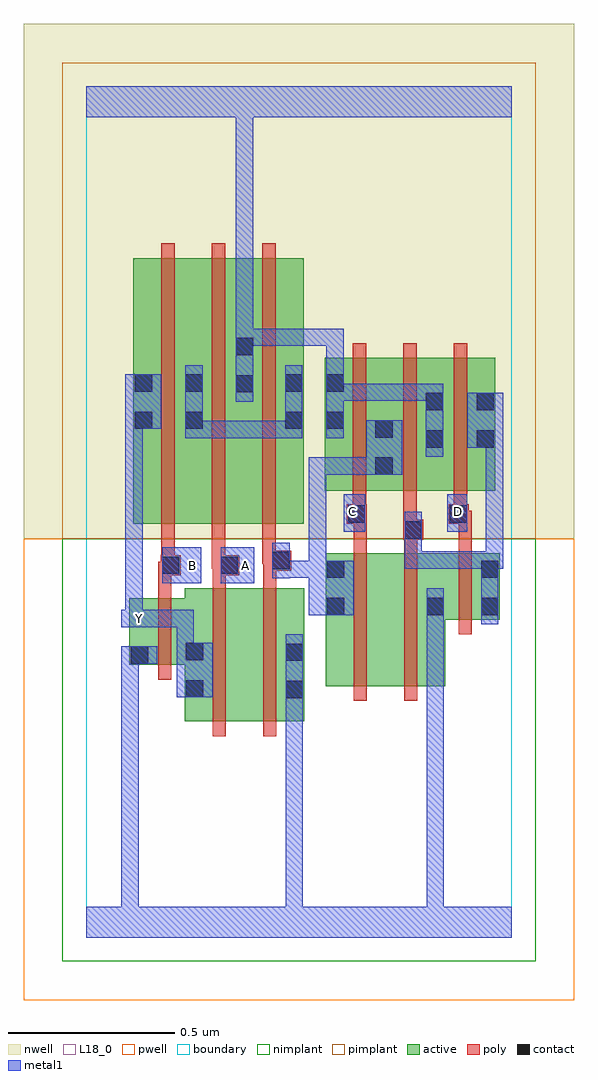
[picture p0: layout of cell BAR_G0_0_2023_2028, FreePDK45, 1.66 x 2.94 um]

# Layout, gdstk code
import gdstk
lib = gdstk.Library(unit=1e-6, precision=1e-09)
def R(c, l, rs):  # rectangles x0, y0, x1, y1
    for r in rs: c.add(gdstk.rectangle(r[:2], r[2:], *l))
def A(c, l, x, y, w, h, nx, ny, dx, dy):  # array of equal rectangles
    R(c, l, [(x+i*dx, y+j*dy, x+i*dx+w, y+j*dy+h) for i in range(nx) for j in range(ny)])
active = (1, 0)
pwell = (2, 0)
nwell = (3, 0)
nimplant = (4, 0)
pimplant = (5, 0)
poly = (9, 0)
contact = (10, 0)
metal1 = (11, 0)
L18_0 = (18, 0)
boundary = (235, 0)

bar_g0_0_2023_2028 = lib.new_cell('BAR_G0_0_2023_2028')
R(bar_g0_0_2023_2028, active, [(0.296,0.65,0.476,1.05), (0.296,0.65,0.356,0.89), (0.476,0.65,0.656,1.05), (0.596,0.716,0.656,1.05), (0.72,0.756,0.78,1.156), (0.72,0.756,0.9,1.156), (0.9,0.756,1.08,1.156), (1.02,0.756,1.08,1.156), (0.13,0.82,0.19,1.02), (0.13,0.82,0.356,1.02), (1.02,0.956,1.244,1.156), (1.184,0.956,1.244,1.156), (0.142,1.244,0.202,2.044), (0.142,1.244,0.354,2.044), (0.294,1.244,0.506,2.044), (0.446,1.244,0.654,2.044), (0.594,1.244,0.654,2.044), (0.718,1.344,0.926,1.744), (0.718,1.344,0.778,1.698), (0.866,1.344,1.078,1.744), (1.018,1.344,1.23,1.744), (1.17,1.344,1.23,1.644), (0.866,1.388,0.926,1.644), (1.018,1.47,1.078,1.644), (0.294,1.526,0.354,2.044), (0.446,1.636,0.506,2.044)])
R(bar_g0_0_2023_2028, pwell, [(-0.188,-0.188,1.468,1.2)])
R(bar_g0_0_2023_2028, nwell, [(-0.188,1.2,1.468,2.748)])
R(bar_g0_0_2023_2028, nimplant, [(-0.072,-0.072,1.352,1.2)])
R(bar_g0_0_2023_2028, pimplant, [(-0.072,1.2,1.352,2.632)])
A(bar_g0_0_2023_2028, poly, 0.226, 1.2, 0.04, 0.888, 3, 1, 0.152, 0)
A(bar_g0_0_2023_2028, poly, 0.802, 1.3, 0.04, 0.488, 3, 1, 0.152, 0)
R(bar_g0_0_2023_2028, poly, [(0.38,0.606,0.42,1.094), (0.532,0.606,0.572,1.094), (0.804,0.712,0.844,1.2), (0.956,0.712,0.996,1.2), (0.216,0.776,0.256,1.064), (1.12,0.912,1.16,1.2), (0.216,1.024,0.256,1.13), (0.38,1.054,0.42,1.13), (0.532,1.054,0.572,1.144), (0.216,1.09,0.264,1.13), (0.224,1.09,0.264,1.13), (0.224,1.09,0.284,1.15), (0.38,1.09,0.46,1.15), (0.532,1.104,0.616,1.164), (0.226,1.11,0.266,1.24), (0.378,1.11,0.42,1.15), (0.378,1.11,0.418,1.24), (0.38,1.11,0.42,1.15), (0.53,1.124,0.57,1.24), (0.53,1.124,0.572,1.164), (0.532,1.124,0.572,1.164), (0.804,1.16,0.844,1.284), (0.956,1.16,0.996,1.236), (1.12,1.16,1.16,1.284), (0.954,1.196,1.014,1.256), (0.954,1.216,0.994,1.256), (0.954,1.216,0.994,1.256), (0.954,1.216,0.994,1.34), (0.784,1.244,0.844,1.304), (1.09,1.244,1.15,1.304), (1.11,1.244,1.15,1.284), (1.11,1.244,1.16,1.284), (0.802,1.264,0.842,1.34), (0.802,1.264,0.842,1.304), (0.802,1.264,0.842,1.304), (1.106,1.264,1.146,1.34)])
R(bar_g0_0_2023_2028, contact, [(0.6,0.72,0.652,0.772), (0.3,0.722,0.352,0.774), (0.134,0.824,0.186,0.876), (0.6,0.832,0.652,0.884), (0.3,0.834,0.352,0.886), (0.724,0.97,0.776,1.022), (1.024,0.97,1.076,1.022), (1.188,0.97,1.24,1.022), (0.724,1.082,0.776,1.134), (1.188,1.082,1.24,1.134), (0.228,1.094,0.28,1.146), (0.404,1.094,0.456,1.146), (0.56,1.108,0.612,1.16), (0.958,1.2,1.01,1.252), (0.788,1.248,0.84,1.3), (1.094,1.248,1.146,1.3), (0.87,1.392,0.922,1.444), (1.022,1.474,1.074,1.526), (1.174,1.474,1.226,1.526), (0.87,1.504,0.922,1.556), (0.146,1.53,0.198,1.582), (0.298,1.53,0.35,1.582), (0.598,1.53,0.65,1.582), (0.722,1.53,0.774,1.582), (1.022,1.586,1.074,1.638), (1.174,1.586,1.226,1.638), (0.45,1.64,0.502,1.692), (0.146,1.642,0.198,1.694), (0.298,1.642,0.35,1.694), (0.598,1.642,0.65,1.694), (0.722,1.642,0.774,1.694), (0.45,1.752,0.502,1.804)])
R(bar_g0_0_2023_2028, metal1, [(0,0,1.28,0.092), (0.106,0.04,0.158,0.092), (0.106,0.04,0.158,0.092), (0.106,0.04,0.158,0.092), (0.106,0.04,0.158,0.092), (0.106,0.04,0.158,0.092), (0.106,0.04,0.158,0.092), (0.106,0.04,0.158,0.876), (0.6,0.04,0.652,0.1), (1.024,0.04,1.076,0.092), (1.024,0.04,1.076,0.092), (1.024,0.04,1.076,0.1), (0.6,0.048,0.652,0.1), (0.6,0.048,0.652,0.1), (0.6,0.048,0.652,0.1), (0.6,0.048,0.652,0.1), (0.6,0.048,0.652,0.1), (0.6,0.048,0.652,0.1), (0.6,0.048,0.652,0.1), (0.6,0.048,0.652,0.1), (0.6,0.048,0.652,0.1), (0.6,0.048,0.652,0.744), (1.024,0.048,1.076,0.1), (1.024,0.048,1.076,0.1), (1.024,0.048,1.076,0.1), (1.024,0.048,1.076,0.1), (1.024,0.048,1.076,0.1), (1.024,0.048,1.076,0.994), (0.6,0.692,0.652,0.744), (0.6,0.692,0.652,0.744), (0.6,0.692,0.652,0.912), (0.272,0.722,0.38,0.886), (0.106,0.824,0.158,0.876), (0.106,0.824,0.158,0.876), (0.106,0.824,0.158,0.876), (0.106,0.824,0.158,0.876), (0.106,0.824,0.158,0.876), (0.106,0.824,0.158,0.876), (0.106,0.824,0.158,0.876), (0.106,0.824,0.158,0.876), (0.106,0.824,0.158,0.876), (0.106,0.824,0.158,0.876), (0.106,0.824,0.214,0.876), (0.272,0.834,0.324,0.986), (0.106,0.934,0.214,0.986), (0.118,0.934,0.17,1.582), (0.162,0.934,0.214,0.986), (0.162,0.934,0.214,0.986), (0.162,0.934,0.324,0.986), (0.272,0.934,0.324,0.986), (1.024,0.942,1.076,0.994), (1.024,0.942,1.076,0.994), (1.024,0.942,1.076,0.994), (1.024,0.942,1.076,0.994), (1.024,0.942,1.076,1.05), (1.188,0.942,1.24,1.162), (0.67,0.97,0.804,1.134), (0.228,1.066,0.346,1.174), (0.404,1.066,0.506,1.174), (0.56,1.08,0.612,1.188), (0.56,1.082,0.646,1.134), (0.594,1.082,0.646,1.134), (0.594,1.082,0.722,1.134), (0.67,1.082,0.722,1.134), (0.67,1.082,0.722,1.134), (0.67,1.082,0.722,1.444), (0.958,1.11,1.24,1.162), (0.958,1.11,1.01,1.224), (1.188,1.11,1.24,1.162), (1.188,1.11,1.24,1.162), (1.188,1.11,1.24,1.162), (1.188,1.11,1.254,1.162), (1.202,1.11,1.254,1.526), (0.958,1.172,1.01,1.224), (0.958,1.172,1.01,1.28), (0.774,1.22,0.84,1.334), (1.086,1.22,1.146,1.334), (0.67,1.392,0.76,1.444), (0.708,1.392,0.76,1.444), (0.708,1.392,0.76,1.444), (0.708,1.392,0.76,1.444), (0.708,1.392,0.76,1.444), (0.708,1.392,0.894,1.444), (0.842,1.392,0.95,1.556), (1.022,1.446,1.074,1.666), (1.146,1.474,1.254,1.638), (1.202,1.474,1.254,1.526), (1.202,1.474,1.254,1.526), (0.298,1.502,0.35,1.554), (0.298,1.502,0.35,1.554), (0.298,1.502,0.35,1.722), (0.298,1.502,0.46,1.554), (0.408,1.502,0.46,1.554), (0.408,1.502,0.46,1.554), (0.408,1.502,0.46,1.554), (0.408,1.502,0.65,1.554), (0.598,1.502,0.65,1.722), (0.722,1.502,0.774,1.722), (0.118,1.53,0.17,1.582), (0.118,1.53,0.17,1.582), (0.118,1.53,0.226,1.694), (0.45,1.612,0.502,1.832), (0.722,1.614,0.774,1.666), (0.722,1.614,0.774,1.666), (0.722,1.614,0.884,1.666), (0.832,1.614,0.884,1.666), (0.832,1.614,0.884,1.666), (0.832,1.614,0.884,1.666), (0.832,1.614,1.074,1.666), (0.722,1.67,0.774,1.832), (0.45,1.78,0.502,1.832), (0.45,1.78,0.502,1.832), (0.45,1.78,0.502,1.832), (0.45,1.78,0.502,1.832), (0.45,1.78,0.646,1.832), (0.45,1.78,0.502,2.52), (0.594,1.78,0.646,1.832), (0.594,1.78,0.774,1.832), (0.722,1.78,0.774,1.832), (0.722,1.78,0.774,1.832), (0.722,1.78,0.774,1.832), (0.722,1.78,0.774,1.832), (0.722,1.78,0.774,1.832), (0.722,1.78,0.774,1.832), (0.722,1.78,0.774,1.832), (0,2.468,1.28,2.56), (0.45,2.468,0.502,2.52), (0.45,2.468,0.502,2.52), (0.45,2.468,0.502,2.52), (0.45,2.468,0.502,2.52), (0.45,2.468,0.502,2.52), (0.45,2.468,0.502,2.52)])
R(bar_g0_0_2023_2028, L18_0, [(0,0,1.28,0.092), (0.106,0.04,0.158,0.092), (0.106,0.04,0.158,0.092), (0.106,0.04,0.158,0.092), (0.106,0.04,0.158,0.092), (0.106,0.04,0.158,0.092), (0.106,0.04,0.158,0.092), (0.106,0.04,0.158,0.876), (0.6,0.04,0.652,0.1), (1.024,0.04,1.076,0.092), (1.024,0.04,1.076,0.092), (1.024,0.04,1.076,0.1), (0.6,0.048,0.652,0.1), (0.6,0.048,0.652,0.1), (0.6,0.048,0.652,0.1), (0.6,0.048,0.652,0.1), (0.6,0.048,0.652,0.1), (0.6,0.048,0.652,0.1), (0.6,0.048,0.652,0.1), (0.6,0.048,0.652,0.1), (0.6,0.048,0.652,0.1), (0.6,0.048,0.652,0.744), (1.024,0.048,1.076,0.1), (1.024,0.048,1.076,0.1), (1.024,0.048,1.076,0.1), (1.024,0.048,1.076,0.1), (1.024,0.048,1.076,0.1), (1.024,0.048,1.076,0.994), (0.6,0.692,0.652,0.744), (0.6,0.692,0.652,0.744), (0.6,0.692,0.652,0.912), (0.272,0.722,0.38,0.886), (0.106,0.824,0.158,0.876), (0.106,0.824,0.158,0.876), (0.106,0.824,0.158,0.876), (0.106,0.824,0.158,0.876), (0.106,0.824,0.158,0.876), (0.106,0.824,0.158,0.876), (0.106,0.824,0.158,0.876), (0.106,0.824,0.158,0.876), (0.106,0.824,0.158,0.876), (0.106,0.824,0.158,0.876), (0.106,0.824,0.214,0.876), (0.272,0.834,0.324,0.986), (0.106,0.934,0.214,0.986), (0.118,0.934,0.17,1.582), (0.134,0.934,0.186,0.986), (0.162,0.934,0.214,0.986), (0.162,0.934,0.214,0.986), (0.162,0.934,0.324,0.986), (0.272,0.934,0.324,0.986), (1.024,0.942,1.076,0.994), (1.024,0.942,1.076,0.994), (1.024,0.942,1.076,0.994), (1.024,0.942,1.076,0.994), (1.024,0.942,1.076,1.05), (0.228,1.066,0.346,1.174), (0.404,1.066,0.506,1.174), (0.294,1.094,0.346,1.146), (0.454,1.094,0.506,1.146), (0.774,1.22,0.84,1.334), (1.086,1.22,1.146,1.334), (0.774,1.254,0.826,1.306), (1.094,1.254,1.146,1.306), (1.022,1.446,1.074,1.666), (0.722,1.502,0.774,1.722), (0.118,1.53,0.17,1.582), (0.118,1.53,0.17,1.582), (0.118,1.53,0.226,1.694), (0.45,1.612,0.502,1.832), (0.722,1.614,0.774,1.666), (0.722,1.614,0.774,1.666), (0.722,1.614,0.884,1.666), (0.832,1.614,0.884,1.666), (0.832,1.614,0.884,1.666), (0.832,1.614,0.884,1.666), (0.832,1.614,1.074,1.666), (0.722,1.67,0.774,1.832), (0.45,1.78,0.502,1.832), (0.45,1.78,0.502,1.832), (0.45,1.78,0.502,1.832), (0.45,1.78,0.502,1.832), (0.45,1.78,0.502,2.52), (0.45,1.78,0.646,1.832), (0.594,1.78,0.646,1.832), (0.594,1.78,0.774,1.832), (0.722,1.78,0.774,1.832), (0.722,1.78,0.774,1.832), (0.722,1.78,0.774,1.832), (0.722,1.78,0.774,1.832), (0.722,1.78,0.774,1.832), (0.722,1.78,0.774,1.832), (0.722,1.78,0.774,1.832), (0,2.468,1.28,2.56), (0.45,2.468,0.502,2.52), (0.45,2.468,0.502,2.52), (0.45,2.468,0.502,2.52), (0.45,2.468,0.502,2.52), (0.45,2.468,0.502,2.52), (0.45,2.468,0.502,2.52)])
R(bar_g0_0_2023_2028, boundary, [(0,0,1.28,2.56)])
bar_g0_0_2023_2028.add(gdstk.Label('A', (0.48,1.12), layer=11, texttype=0))
bar_g0_0_2023_2028.add(gdstk.Label('B', (0.32,1.12), layer=11, texttype=0))
bar_g0_0_2023_2028.add(gdstk.Label('C', (0.8,1.28), layer=11, texttype=0))
bar_g0_0_2023_2028.add(gdstk.Label('D', (1.12,1.28), layer=11, texttype=0))
bar_g0_0_2023_2028.add(gdstk.Label('Y', (0.16,0.96), layer=11, texttype=0))

lib.write_gds('BAR_G0_0_2023_2028.gds')
